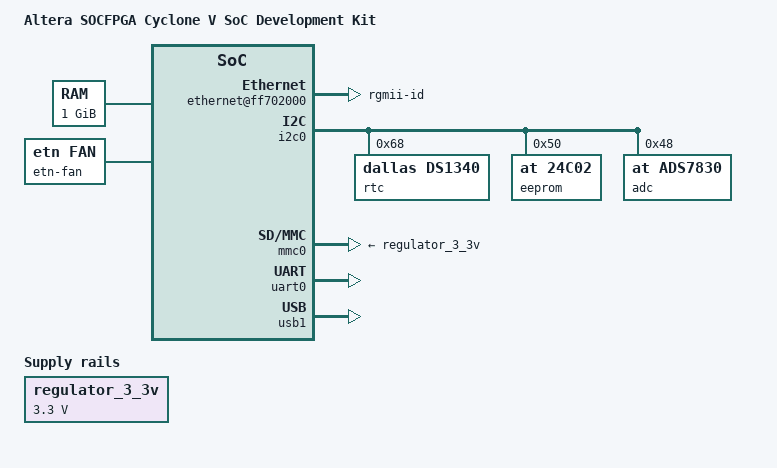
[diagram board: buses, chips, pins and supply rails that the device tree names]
/*
 * Copyright Altera Corporation (C) 2012,2014. All rights reserved.
 *
 * This program is free software; you can redistribute it and/or modify
 * it under the terms and conditions of the GNU General Public License,
 * version 2, as published by the Free Software Foundation.
 *
 * This program is distributed in the hope it will be useful, but WITHOUT
 * ANY WARRANTY; without even the implied warranty of MERCHANTABILITY or
 * FITNESS FOR A PARTICULAR PURPOSE.  See the GNU General Public License for
 * more details.
 *
 * You should have received a copy of the GNU General Public License along with
 * this program.  If not, see <http://www.gnu.org/licenses/>.
 */

#include "socfpga_cyclone5.dtsi"
#include <dt-bindings/input/input.h>
#include <dt-bindings/interrupt-controller/irq.h>
#include <dt-bindings/gpio/gpio.h>

/ {
	model = "Altera SOCFPGA Cyclone V SoC Development Kit";
	compatible = "altr,socfpga-cyclone5", "altr,socfpga";

	chosen {
		bootargs = "console=ttyS0,115200";
	};

	memory {
		name = "memory";
		device_type = "memory";
		reg = <0x0 0x40000000>; /* 1GB */
	};

	aliases {
		/* this allow the ethaddr uboot environmnet variable contents
		 * to be added to the gmac1 device tree blob.
		 */
		ethernet0 = &gmac1;

		/* This code makes i2c busses appear in sysfs numbered in a
		 * predictable and strict order */
		i2c0 = &i2c0;
		i2c1 = &i2c1;
	};

	regulator_3_3v: 3-3-v-regulator {
		compatible = "regulator-fixed";
		regulator-name = "3.3V";
		regulator-min-microvolt = <3300000>;
		regulator-max-microvolt = <3300000>;
	};

	soc {
		ethernet@ff702000 {
			phy-mode = "rgmii-id";
			phy-addr = <0xffffffff>; /* probe for phy addr */
			status = "okay";
		};

		gpio0: gpio@ff708000 {
			status = "okay";
		};

		gpio1: gpio@ff709000 {
			status = "okay";
		};

		gpio2: gpio@ff70a000 {
			status = "okay";
		};

		i2c0: i2c@ffc04000 {
			status = "okay";
			speed-mode = <0>;
			i2c-sda-falling-time-ns = <5000>;
			i2c-scl-falling-time-ns = <5000>;

			rtc@68 {
				compatible = "dallas,ds1340";
				reg = <0x68>;
				status = "okay";
			};

			eeprom@50 {
				compatible = "at,24c02";
				reg = <0x50>;
				status = "okay";
			};

			adc@48 {
				compatible = "at,ads7830";
				reg = <0x48>;
				status = "okay";
			};
		};

		i2c1: i2c@ffc05000 {
			status = "disabled";
		};

		pmu {
			cti0: cti0@ff118000 {
				status = "okay";
			};

			cti1: cti1@ff119000 {
				status = "disabled";
			};
		};

		fpga-io {
			compatible = "etn,io";
			h2f = <0xc0000000 0x1000>;
			lwh2f = <0xff200000 0x1000>;
			rstmgr = <0xffd05000 0x1000>;
			l3regs = <0xff800000 0x1000>;
		};

		etn-port0 {
			compatible = "etn,net,netdma";
			etn,port-num = <0>;
			interrupts = <0x0 0x28 0x1 0x0 0x29 0x1>;
			mac-address = [ 00 21 CE 01 00 01];
		};

		etn-port1 {
			compatible = "etn,net,netdma";
			etn,port-num = <1>;
			interrupts = <0x0 0x2A 0x1 0x0 0x2B 0x1>;
			mac-address = [ 00 21 CE 01 00 02];
		};

		etn-temp {
			compatible = "etn,temp";
		};

		etn-fan {
			compatible = "etn,fan";
		};

		etn-phc {
			compatible = "etn,phc";
		};

		aes {
			compatible = "stcmtk,aes";
			interrupts = <0x0 0x28 0x1>;
		};

	};
};

&mmc0 {
	vmmc-supply = <&regulator_3_3v>;
	vqmmc-supply = <&regulator_3_3v>;
};

&uart0 {
	status = "okay";
};

&usb1 {
	status = "okay";
};
